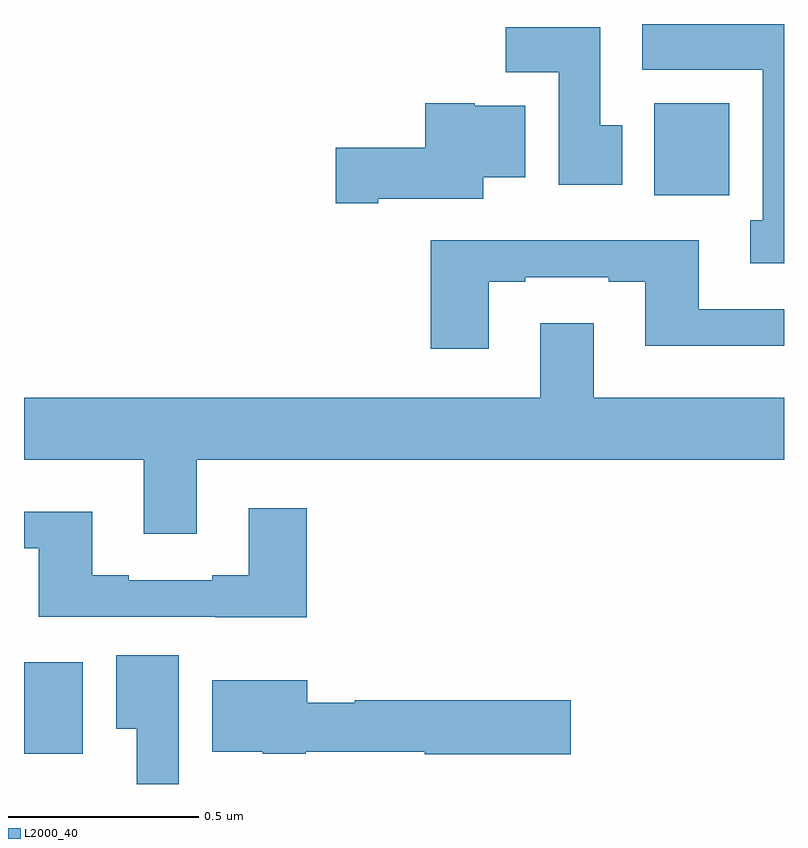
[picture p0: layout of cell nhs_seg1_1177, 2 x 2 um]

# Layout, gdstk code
import gdstk
lib = gdstk.Library(unit=1e-6, precision=1e-09)
def R(c, l, rs):  # rectangles x0, y0, x1, y1
    for r in rs: c.add(gdstk.rectangle(r[:2], r[2:], *l))
def P(c, l, *ps):  # polygons
    for p in ps: c.add(gdstk.Polygon(p, *l))
L2000_40 = (2000, 40)

nhs_seg1_1177 = lib.new_cell('nhs_seg1_1177')
R(nhs_seg1_1177, L2000_40, [(125,564.278,125.155,564.52), (126.659,565.748,126.856,565.99)])
P(nhs_seg1_1177, L2000_40, [(127,566.199),(126.627,566.199),(126.627,566.078),(126.944,566.078),(126.944,565.682),(126.911,565.682),(126.911,565.569),(127,565.569)],
  [(126.574,565.932),(126.517,565.932),(126.517,566.191),(126.268,566.191),(126.268,566.072),(126.407,566.072),(126.407,565.776),(126.574,565.776)],
  [(125.932,565.739),(126.208,565.739),(126.208,565.796),(126.319,565.796),(126.319,565.984),(126.186,565.984),(126.186,565.99),(126.056,565.99),(126.056,565.874),(125.82,565.874),(125.82,565.727),(125.932,565.727)],
  [(126.223,565.521),(126.319,565.521),(126.319,565.533),(126.539,565.533),(126.539,565.521),(126.635,565.521),(126.635,565.352),(127,565.352),(127,565.449),(126.775,565.449),(126.775,565.63),(126.071,565.63),(126.071,565.344),(126.223,565.344)],
  [(125.455,565.052),(127,565.052),(127,565.216),(126.499,565.216),(126.499,565.411),(126.359,565.411),(126.359,565.216),(125,565.216),(125,565.052),(125.315,565.052),(125.315,564.858),(125.455,564.858)],
  [(125.744,564.925),(125.591,564.925),(125.591,564.748),(125.495,564.748),(125.495,564.735),(125.275,564.735),(125.275,564.748),(125.179,564.748),(125.179,564.916),(125,564.916),(125,564.819),(125.039,564.819),(125.039,564.639),(125.503,564.639),(125.503,564.638),(125.744,564.638)],
  [(125.407,564.538),(125.243,564.538),(125.243,564.344),(125.297,564.344),(125.297,564.199),(125.407,564.199)],
  [(126.439,564.419),(125.871,564.419),(125.871,564.413),(125.746,564.413),(125.746,564.472),(125.495,564.472),(125.495,564.284),(125.628,564.284),(125.628,564.278),(125.742,564.278),(125.742,564.284),(126.054,564.284),(126.054,564.277),(126.439,564.277)])

lib.write_gds('nhs_seg1_1177.gds')
